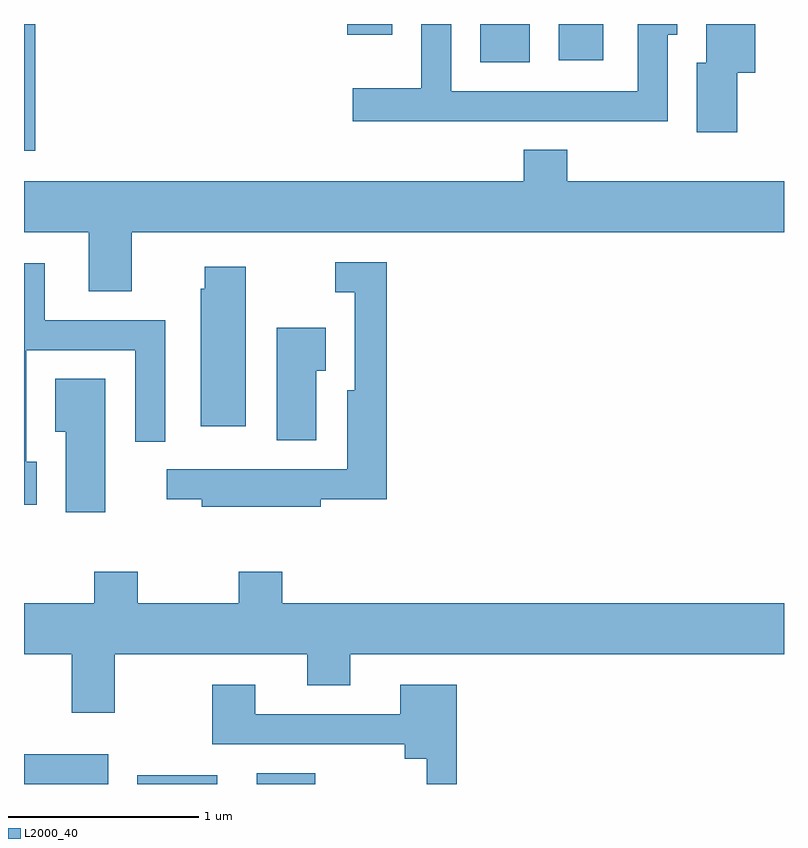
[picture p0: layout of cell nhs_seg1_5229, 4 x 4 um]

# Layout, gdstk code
import gdstk
lib = gdstk.Library(unit=1e-6, precision=1e-09)
def R(c, l, rs):  # rectangles x0, y0, x1, y1
    for r in rs: c.add(gdstk.rectangle(r[:2], r[2:], *l))
def P(c, l, *ps):  # polygons
    for p in ps: c.add(gdstk.Polygon(p, *l))
L2000_40 = (2000, 40)

nhs_seg1_5229 = lib.new_cell('nhs_seg1_5229')
R(nhs_seg1_5229, L2000_40, [(341.611,967.712,342.054,967.869), (342.206,967.712,342.629,967.759), (342.836,967.712,343.144,967.769), (341.611,971.046,341.669,971.712), (344.011,971.511,344.274,971.712), (344.426,971.521,344.659,971.712), (343.311,971.656,343.549,971.712)])
P(nhs_seg1_5229, L2000_40, [(345.364,971.456),(345.459,971.456),(345.459,971.712),(345.201,971.712),(345.201,971.509),(345.151,971.509),(345.151,971.141),(345.364,971.141)],
  [(344.999,971.656),(345.049,971.656),(345.049,971.712),(344.841,971.712),(344.841,971.359),(343.859,971.359),(343.859,971.712),(343.701,971.712),(343.701,971.374),(343.341,971.374),(343.341,971.201),(344.999,971.201)],
  [(345.611,970.884),(344.469,970.884),(344.469,971.049),(344.241,971.049),(344.241,970.884),(341.611,970.884),(341.611,970.616),(341.951,970.616),(341.951,970.306),(342.179,970.306),(342.179,970.616),(345.611,970.616)],
  [(343.174,969.211),(343.519,969.211),(343.519,970.459),(343.248,970.459),(343.248,970.301),(343.351,970.301),(343.351,969.784),(343.311,969.784),(343.311,969.369),(342.363,969.369),(342.363,969.211),(342.546,969.211),(342.546,969.171),(343.174,969.171)],
  [(341.679,969.409),(341.624,969.409),(341.624,969.996),(342.196,969.996),(342.196,969.513),(342.354,969.513),(342.354,970.154),(341.719,970.154),(341.719,970.454),(341.611,970.454),(341.611,969.181),(341.679,969.181)],
  [(342.779,970.434),(342.561,970.434),(342.561,970.319),(342.541,970.319),(342.541,969.596),(342.779,969.596)],
  [(343.149,969.886),(343.199,969.886),(343.199,970.114),(342.941,970.114),(342.941,969.521),(343.149,969.521)],
  [(342.039,969.844),(341.776,969.844),(341.776,969.566),(341.831,969.566),(341.831,969.141),(342.039,969.141)],
  [(342.089,968.396),(343.101,968.396),(343.101,968.231),(343.329,968.231),(343.329,968.396),(345.611,968.396),(345.611,968.664),(342.969,968.664),(342.969,968.829),(342.741,968.829),(342.741,968.664),(342.209,968.664),(342.209,968.829),(341.981,968.829),(341.981,968.664),(341.611,968.664),(341.611,968.396),(341.861,968.396),(341.861,968.086),(342.089,968.086)],
  [(343.889,968.234),(343.591,968.234),(343.591,968.079),(342.829,968.079),(342.829,968.234),(342.601,968.234),(342.601,967.921),(343.616,967.921),(343.616,967.846),(343.731,967.846),(343.731,967.712),(343.889,967.712)])

lib.write_gds('nhs_seg1_5229.gds')
